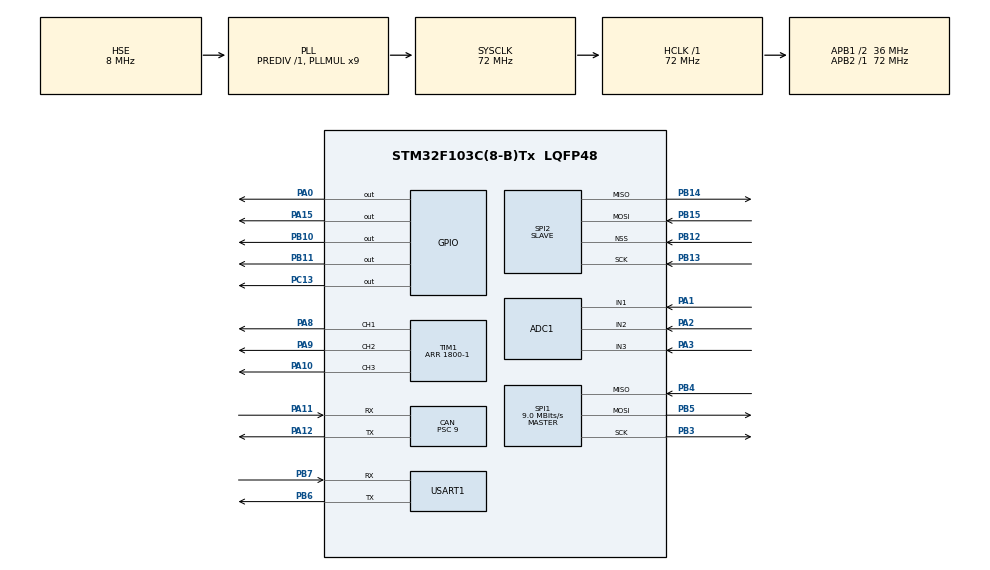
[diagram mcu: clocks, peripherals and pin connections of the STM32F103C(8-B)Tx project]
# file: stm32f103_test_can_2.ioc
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ADC1.Channel-0\#ChannelRegularConversion=ADC_CHANNEL_1
ADC1.Channel-1\#ChannelRegularConversion=ADC_CHANNEL_2
ADC1.Channel-2\#ChannelRegularConversion=ADC_CHANNEL_3
ADC1.NbrOfConversion=3
ADC1.NbrOfConversionFlag=1
ADC1.Rank-0\#ChannelRegularConversion=1
ADC1.Rank-1\#ChannelRegularConversion=2
ADC1.Rank-2\#ChannelRegularConversion=3
ADC1.SamplingTime-0\#ChannelRegularConversion=ADC_SAMPLETIME_1CYCLE_5
ADC1.SamplingTime-1\#ChannelRegularConversion=ADC_SAMPLETIME_1CYCLE_5
ADC1.SamplingTime-2\#ChannelRegularConversion=ADC_SAMPLETIME_1CYCLE_5
ADC1.master=1
CAN.BS1=CAN_BS1_2TQ
CAN.CalculateBaudRate=1000000
CAN.CalculateTimeBit=1000
CAN.CalculateTimeQuantum=250.0
CAN.Prescaler=9
Dma.ADC1.0.Direction=DMA_PERIPH_TO_MEMORY
Dma.ADC1.0.Instance=DMA1_Channel1
Dma.ADC1.0.MemDataAlignment=DMA_MDATAALIGN_HALFWORD
Dma.ADC1.0.MemInc=DMA_MINC_ENABLE
Dma.ADC1.0.Mode=DMA_CIRCULAR
Dma.ADC1.0.PeriphDataAlignment=DMA_PDATAALIGN_HALFWORD
Dma.ADC1.0.PeriphInc=DMA_PINC_DISABLE
Dma.ADC1.0.Priority=DMA_PRIORITY_LOW
Dma.Request0=ADC1
Mcu.Family=STM32F1
Mcu.Name=STM32F103C(8-B)Tx
Mcu.Package=LQFP48
NVIC.DMA1_Channel1_IRQn=true\:0\:0\:false\:false\:true\:false\:true
NVIC.PriorityGroup=NVIC_PRIORITYGROUP_4
NVIC.SPI1_IRQn=true\:2\:0\:true\:false\:true\:true\:true
NVIC.TIM1_UP_IRQn=true\:3\:0\:true\:false\:true\:true\:true
NVIC.USART1_IRQn=true\:2\:0\:true\:false\:true\:true\:true
NVIC.USB_LP_CAN1_RX0_IRQn=true\:4\:0\:true\:false\:true\:true\:true
PA0-WKUP.GPIO_PuPd=GPIO_PULLUP
PA0-WKUP.GPIO_Speed=GPIO_SPEED_FREQ_HIGH
PA0-WKUP.PinState=GPIO_PIN_SET
PA0-WKUP.Signal=GPIO_Output
PA1.Signal=ADCx_IN1
PA10.GPIO_Speed=GPIO_SPEED_FREQ_HIGH
PA10.Signal=S_TIM1_CH3
PA11.GPIO_PuPd=GPIO_PULLUP
PA11.Mode=CAN_Activate
PA11.Signal=CAN_RX
PA12.Mode=CAN_Activate
PA12.Signal=CAN_TX
PA13.Mode=Serial_Wire
PA13.Signal=SYS_JTMS-SWDIO
PA14.Mode=Serial_Wire
PA14.Signal=SYS_JTCK-SWCLK
PA15.GPIO_PuPd=GPIO_PULLUP
PA15.GPIO_Speed=GPIO_SPEED_FREQ_HIGH
PA15.PinState=GPIO_PIN_SET
PA15.Signal=GPIO_Output
PA2.Signal=ADCx_IN2
PA3.Signal=ADCx_IN3
PA8.GPIO_Speed=GPIO_SPEED_FREQ_HIGH
PA8.Signal=S_TIM1_CH1
PA9.GPIO_Speed=GPIO_SPEED_FREQ_HIGH
PA9.Signal=S_TIM1_CH2
PB10.GPIO_PuPd=GPIO_PULLDOWN
PB10.GPIO_Speed=GPIO_SPEED_FREQ_HIGH
PB10.PinState=GPIO_PIN_RESET
PB10.Signal=GPIO_Output
PB11.GPIO_PuPd=GPIO_PULLDOWN
PB11.GPIO_Speed=GPIO_SPEED_FREQ_HIGH
PB11.Signal=GPIO_Output
PB12.Mode=NSS_Signal_Hard_Input
PB12.Signal=SPI2_NSS
PB13.Mode=Full_Duplex_Slave
PB13.Signal=SPI2_SCK
PB14.Mode=Full_Duplex_Slave
PB14.Signal=SPI2_MISO
PB15.Mode=Full_Duplex_Slave
PB15.Signal=SPI2_MOSI
PB3.Mode=Full_Duplex_Master
PB3.Signal=SPI1_SCK
PB4.GPIO_PuPd=GPIO_PULLDOWN
PB4.Mode=Full_Duplex_Master
PB4.Signal=SPI1_MISO
PB5.Mode=Full_Duplex_Master
PB5.Signal=SPI1_MOSI
PB6.Mode=Asynchronous
PB6.Signal=USART1_TX
PB7.GPIO_PuPd=GPIO_PULLUP
PB7.Mode=Asynchronous
PB7.Signal=USART1_RX
PC13-TAMPER-RTC.GPIO_PuPd=GPIO_PULLUP
PC13-TAMPER-RTC.GPIO_Speed=GPIO_SPEED_FREQ_HIGH
PC13-TAMPER-RTC.PinState=GPIO_PIN_SET
PC13-TAMPER-RTC.Signal=GPIO_Output
PD0-OSC_IN.Mode=HSE-External-Oscillator
PD0-OSC_IN.Signal=RCC_OSC_IN
PD1-OSC_OUT.Mode=HSE-External-Oscillator
PD1-OSC_OUT.Signal=RCC_OSC_OUT
ProjectManager.HeapSize=0x200
ProjectManager.StackSize=0x400
ProjectManager.TargetToolchain=MDK-ARM V5.32
RCC.ADCPresc=RCC_ADCPCLK2_DIV6
RCC.AHBFreq_Value=72000000
RCC.APB1CLKDivider=RCC_HCLK_DIV2
RCC.APB1Freq_Value=36000000
RCC.APB1TimFreq_Value=72000000
RCC.APB2Freq_Value=72000000
RCC.APB2TimFreq_Value=72000000
RCC.HCLKFreq_Value=72000000
RCC.PLLMUL=RCC_PLL_MUL9
RCC.PLLSourceVirtual=RCC_PLLSOURCE_HSE
RCC.SYSCLKFreq_VALUE=72000000
RCC.SYSCLKSource=RCC_SYSCLKSOURCE_PLLCLK
RCC.USBFreq_Value=72000000
SH.ADCx_IN1.0=ADC1_IN1,IN1
SH.ADCx_IN2.0=ADC1_IN2,IN2
SH.ADCx_IN3.0=ADC1_IN3,IN3
SH.S_TIM1_CH1.0=TIM1_CH1,PWM Generation1 CH1
SH.S_TIM1_CH2.0=TIM1_CH2,PWM Generation2 CH2
SH.S_TIM1_CH3.0=TIM1_CH3,PWM Generation3 CH3
SPI1.BaudRatePrescaler=SPI_BAUDRATEPRESCALER_8
SPI1.CalculateBaudRate=9.0 MBits/s
SPI1.Direction=SPI_DIRECTION_2LINES
SPI1.Mode=SPI_MODE_MASTER
SPI1.VirtualType=VM_MASTER
SPI2.Direction=SPI_DIRECTION_2LINES
SPI2.Mode=SPI_MODE_SLAVE
SPI2.VirtualNSS=VM_NSSHARD
SPI2.VirtualType=VM_SLAVE
TIM1.Channel-PWM\ Generation1\ CH1=TIM_CHANNEL_1
TIM1.Channel-PWM\ Generation2\ CH2=TIM_CHANNEL_2
TIM1.Channel-PWM\ Generation3\ CH3=TIM_CHANNEL_3
TIM1.CounterMode=TIM_COUNTERMODE_CENTERALIGNED1
TIM1.OCPolarity_1=TIM_OCPOLARITY_LOW
TIM1.OCPolarity_2=TIM_OCPOLARITY_LOW
TIM1.OCPolarity_3=TIM_OCPOLARITY_LOW
TIM1.Period=1800-1
TIM1.RepetitionCounter=7
USART1.VirtualMode=VM_ASYNC
VP_TIM1_VS_ClockSourceINT.Mode=Internal
board=custom

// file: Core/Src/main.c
/* USER CODE BEGIN Header */
/**
  ******************************************************************************
  * @file           : main.c
  * @brief          : Main program body
  ******************************************************************************
  * @attention
  *
  * Copyright (c) 2023 STMicroelectronics.
  * All rights reserved.
  *
  * This software is licensed under terms that can be found in the LICENSE file
  * in the root directory of this software component.
  * If no LICENSE file comes with this software, it is provided AS-IS.
  *
  ******************************************************************************
  */
/* USER CODE END Header */
#include "main.h"

/* USER CODE BEGIN Includes */
#include "math.h"
#include "stdio.h"
#include "string.h"
/* USER CODE END Includes */

/* USER CODE BEGIN PD */
uint32_t tim1_it_cnt = 0;

CAN_TxHeaderTypeDef CAN_TxHeader;
CAN_RxHeaderTypeDef CAN_RxHeader;

uint32_t tx_mailbox;

uint8_t CAN_TX[8];
uint8_t CAN_RX[8];
uint8_t SPI_TX1[10];
uint8_t SPI_TX2[10];
uint8_t SPI_RX1[10];
uint8_t SPI_RX2[10];

void HAL_CAN_RxFifo0MsgPendingCallback(CAN_HandleTypeDef *hcan)
{
	HAL_CAN_GetRxMessage(hcan, CAN_RX_FIFO0, &CAN_RxHeader, CAN_RX);
//	HAL_CAN_AddTxMessage(hcan, &CAN_TxHeader, CAN_TX, &tx_mailbox);
}

/* USER CODE END PD */

ADC_HandleTypeDef hadc1;
DMA_HandleTypeDef hdma_adc1;

CAN_HandleTypeDef hcan;

SPI_HandleTypeDef hspi1;
SPI_HandleTypeDef hspi2;

TIM_HandleTypeDef htim1;

UART_HandleTypeDef huart1;

void SystemClock_Config(void);
static void MX_GPIO_Init(void);
static void MX_ADC1_Init(void);
static void MX_CAN_Init(void);
static void MX_SPI1_Init(void);
static void MX_TIM1_Init(void);
static void MX_DMA_Init(void);
static void MX_USART1_UART_Init(void);
static void MX_SPI2_Init(void);

int main(void)
{

  /* MCU Configuration--------------------------------------------------------*/

  /* Reset of all peripherals, Initializes the Flash interface and the Systick. */
  HAL_Init();

  /* Configure the system clock */
  SystemClock_Config();

  /* Initialize all configured peripherals */
  MX_GPIO_Init();
  MX_ADC1_Init();
  MX_CAN_Init();
  MX_SPI1_Init();
  MX_TIM1_Init();
  MX_DMA_Init();
  MX_USART1_UART_Init();
  MX_SPI2_Init();
  /* USER CODE BEGIN 2 */
	HAL_GPIO_WritePin(GPIOA, GPIO_PIN_15, 1);
	HAL_GPIO_WritePin(GPIOA, GPIO_PIN_0, 1);
	HAL_CAN_Start(&hcan);

	HAL_CAN_ActivateNotification(&hcan, CAN_IT_RX_FIFO0_MSG_PENDING);

	CAN_TxHeader.DLC = 8;
	CAN_TxHeader.IDE = CAN_ID_STD;
	CAN_TxHeader.RTR = CAN_RTR_DATA;
	CAN_TxHeader.StdId = 0x01;

	CAN_TX[0] = 0x11;
	CAN_TX[1] = 0x22;
	CAN_TX[2] = 0x33;
	CAN_TX[3] = 0xfa;
	CAN_TX[4] = 0xfb;
	CAN_TX[5] = 0xfc;
	CAN_TX[6] = 0xfe;
	CAN_TX[7] = 0xff;

	SPI_TX1[0] = 0x11;
	SPI_TX1[1] = 0x22;
	SPI_TX1[2] = 0x33;
	SPI_TX1[3] = 0xfa;
	SPI_TX1[4] = 0xfb;
	SPI_TX1[5] = 0xfc;
	SPI_TX1[6] = 0xfe;
	SPI_TX1[7] = 0xff;
	SPI_TX1[8] = 0x00;
	SPI_TX1[9] = htim1.Instance->CNT;

	SPI_TX2[0] = 0x11;
	SPI_TX2[1] = 0x22;
	SPI_TX2[2] = 0x33;
	SPI_TX2[3] = 0xfa;
	SPI_TX2[4] = 0xfb;
	SPI_TX2[5] = 0xfc;
	SPI_TX2[6] = 0xfe;
	SPI_TX2[7] = 0xff;
	SPI_TX2[8] = 0x00;
	SPI_TX2[9] = htim1.Instance->CNT;

	HAL_TIM_Base_Start_IT(&htim1);

  /* USER CODE END 2 */

  /* Infinite loop */
  /* USER CODE BEGIN WHILE */
  while (1)
  {
//		HAL_GPIO_WritePin(GPIOA, GPIO_PIN_15, 0);
		SPI_TX1[9] = htim1.Instance->CNT;
		SPI_TX2[9] = htim1.Instance->CNT;
		GPIOA->ODR &=~(0x1<<15);
//		HAL_SPI_Receive(&hspi1,SPI_RX1,  sizeof(SPI_RX1),10);
//		HAL_SPI_TransmitReceive(&hspi1, SPI_TX1, SPI_RX1, 10, 100);

//		HAL_Delay(1);
//				HAL_GPIO_WritePin(GPIOA, GPIO_PIN_15, 1);
		GPIOA->ODR |=(0x1<<15);
		GPIOA->ODR &=~(0x1);
//		HAL_SPI_Receive(&hspi1,SPI_RX2,  sizeof(SPI_RX2),10);
//		HAL_SPI_TransmitReceive(&hspi1, SPI_TX2, SPI_RX2, 10, 100);
		GPIOA->ODR |=(0x1);
//
		HAL_Delay(1);
    /* USER CODE END WHILE */

  }
}

void SystemClock_Config(void)
{
  RCC_OscInitTypeDef RCC_OscInitStruct = {0};
  RCC_ClkInitTypeDef RCC_ClkInitStruct = {0};
  RCC_PeriphCLKInitTypeDef PeriphClkInit = {0};

  /** Initializes the RCC Oscillators according to the specified parameters
  * in the RCC_OscInitTypeDef structure.
  */
  RCC_OscInitStruct.OscillatorType = RCC_OSCILLATORTYPE_HSE;
  RCC_OscInitStruct.HSEState = RCC_HSE_ON;
  RCC_OscInitStruct.HSEPredivValue = RCC_HSE_PREDIV_DIV1;
  RCC_OscInitStruct.HSIState = RCC_HSI_ON;
  RCC_OscInitStruct.PLL.PLLState = RCC_PLL_ON;
  RCC_OscInitStruct.PLL.PLLSource = RCC_PLLSOURCE_HSE;
  RCC_OscInitStruct.PLL.PLLMUL = RCC_PLL_MUL9;
  if (HAL_RCC_OscConfig(&RCC_OscInitStruct) != HAL_OK)
  {
    Error_Handler();
  }
  /** Initializes the CPU, AHB and APB buses clocks
  */
  RCC_ClkInitStruct.ClockType = RCC_CLOCKTYPE_HCLK|RCC_CLOCKTYPE_SYSCLK
                              |RCC_CLOCKTYPE_PCLK1|RCC_CLOCKTYPE_PCLK2;
  RCC_ClkInitStruct.SYSCLKSource = RCC_SYSCLKSOURCE_PLLCLK;
  RCC_ClkInitStruct.AHBCLKDivider = RCC_SYSCLK_DIV1;
  RCC_ClkInitStruct.APB1CLKDivider = RCC_HCLK_DIV2;
  RCC_ClkInitStruct.APB2CLKDivider = RCC_HCLK_DIV1;

  if (HAL_RCC_ClockConfig(&RCC_ClkInitStruct, FLASH_LATENCY_2) != HAL_OK)
  {
    Error_Handler();
  }
  PeriphClkInit.PeriphClockSelection = RCC_PERIPHCLK_ADC;
  PeriphClkInit.AdcClockSelection = RCC_ADCPCLK2_DIV6;
  if (HAL_RCCEx_PeriphCLKConfig(&PeriphClkInit) != HAL_OK)
  {
    Error_Handler();
  }
}

static void MX_ADC1_Init(void)
{

  ADC_ChannelConfTypeDef sConfig = {0};

  /** Common config
  */
  hadc1.Instance = ADC1;
  hadc1.Init.ScanConvMode = ADC_SCAN_ENABLE;
  hadc1.Init.ContinuousConvMode = DISABLE;
  hadc1.Init.DiscontinuousConvMode = DISABLE;
  hadc1.Init.ExternalTrigConv = ADC_SOFTWARE_START;
  hadc1.Init.DataAlign = ADC_DATAALIGN_RIGHT;
  hadc1.Init.NbrOfConversion = 3;
  if (HAL_ADC_Init(&hadc1) != HAL_OK)
  {
    Error_Handler();
  }
  /** Configure Regular Channel
  */
  sConfig.Channel = ADC_CHANNEL_1;
  sConfig.Rank = ADC_REGULAR_RANK_1;
  sConfig.SamplingTime = ADC_SAMPLETIME_1CYCLE_5;
  if (HAL_ADC_ConfigChannel(&hadc1, &sConfig) != HAL_OK)
  {
    Error_Handler();
  }
  /** Configure Regular Channel
  */
  sConfig.Channel = ADC_CHANNEL_2;
  sConfig.Rank = ADC_REGULAR_RANK_2;
  if (HAL_ADC_ConfigChannel(&hadc1, &sConfig) != HAL_OK)
  {
    Error_Handler();
  }
  /** Configure Regular Channel
  */
  sConfig.Channel = ADC_CHANNEL_3;
  sConfig.Rank = ADC_REGULAR_RANK_3;
  if (HAL_ADC_ConfigChannel(&hadc1, &sConfig) != HAL_OK)
  {
    Error_Handler();
  }

}

static void MX_CAN_Init(void)
{

  hcan.Instance = CAN1;
  hcan.Init.Prescaler = 9;
  hcan.Init.Mode = CAN_MODE_NORMAL;
  hcan.Init.SyncJumpWidth = CAN_SJW_1TQ;
  hcan.Init.TimeSeg1 = CAN_BS1_2TQ;
  hcan.Init.TimeSeg2 = CAN_BS2_1TQ;
  hcan.Init.TimeTriggeredMode = DISABLE;
  hcan.Init.AutoBusOff = DISABLE;
  hcan.Init.AutoWakeUp = DISABLE;
  hcan.Init.AutoRetransmission = DISABLE;
  hcan.Init.ReceiveFifoLocked = DISABLE;
  hcan.Init.TransmitFifoPriority = DISABLE;
  if (HAL_CAN_Init(&hcan) != HAL_OK)
  {
    Error_Handler();
  }
  /* USER CODE BEGIN CAN_Init 2 */

	CAN_FilterTypeDef canfilterconfig;

	canfilterconfig.FilterActivation = CAN_FILTER_ENABLE;
	canfilterconfig.FilterBank = 10;
	canfilterconfig.FilterFIFOAssignment = CAN_FILTER_FIFO0;
	canfilterconfig.FilterIdHigh = 0x000<<5;
	canfilterconfig.FilterIdLow =/*0x0*/ 0x3;
	canfilterconfig.FilterMaskIdHigh = 0x000<<5;
	canfilterconfig.FilterMaskIdLow = 0x0;
	canfilterconfig.FilterMode = CAN_FILTERMODE_IDMASK;
	canfilterconfig.FilterScale = CAN_FILTERSCALE_32BIT;
	canfilterconfig.SlaveStartFilterBank = 20;

	if (HAL_CAN_ConfigFilter(&hcan, &canfilterconfig) != HAL_OK)
  {
    Error_Handler();
  }

  /* USER CODE END CAN_Init 2 */

}

static void MX_SPI1_Init(void)
{

  /* SPI1 parameter configuration*/
  hspi1.Instance = SPI1;
  hspi1.Init.Mode = SPI_MODE_MASTER;
  hspi1.Init.Direction = SPI_DIRECTION_2LINES;
  hspi1.Init.DataSize = SPI_DATASIZE_8BIT;
  hspi1.Init.CLKPolarity = SPI_POLARITY_LOW;
  hspi1.Init.CLKPhase = SPI_PHASE_1EDGE;
  hspi1.Init.NSS = SPI_NSS_SOFT;
  hspi1.Init.BaudRatePrescaler = SPI_BAUDRATEPRESCALER_8;
  hspi1.Init.FirstBit = SPI_FIRSTBIT_MSB;
  hspi1.Init.TIMode = SPI_TIMODE_DISABLE;
  hspi1.Init.CRCCalculation = SPI_CRCCALCULATION_DISABLE;
  hspi1.Init.CRCPolynomial = 10;
  if (HAL_SPI_Init(&hspi1) != HAL_OK)
  {
    Error_Handler();
  }

}

static void MX_SPI2_Init(void)
{

  /* SPI2 parameter configuration*/
  hspi2.Instance = SPI2;
  hspi2.Init.Mode = SPI_MODE_SLAVE;
  hspi2.Init.Direction = SPI_DIRECTION_2LINES;
  hspi2.Init.DataSize = SPI_DATASIZE_8BIT;
  hspi2.Init.CLKPolarity = SPI_POLARITY_LOW;
  hspi2.Init.CLKPhase = SPI_PHASE_1EDGE;
  hspi2.Init.NSS = SPI_NSS_HARD_INPUT;
  hspi2.Init.FirstBit = SPI_FIRSTBIT_MSB;
  hspi2.Init.TIMode = SPI_TIMODE_DISABLE;
  hspi2.Init.CRCCalculation = SPI_CRCCALCULATION_DISABLE;
  hspi2.Init.CRCPolynomial = 10;
  if (HAL_SPI_Init(&hspi2) != HAL_OK)
  {
    Error_Handler();
  }

}

static void MX_TIM1_Init(void)
{

  TIM_ClockConfigTypeDef sClockSourceConfig = {0};
  TIM_MasterConfigTypeDef sMasterConfig = {0};
  TIM_OC_InitTypeDef sConfigOC = {0};
  TIM_BreakDeadTimeConfigTypeDef sBreakDeadTimeConfig = {0};

  htim1.Instance = TIM1;
  htim1.Init.Prescaler = 0;
  htim1.Init.CounterMode = TIM_COUNTERMODE_CENTERALIGNED1;
  htim1.Init.Period = 1800-1;
  htim1.Init.ClockDivision = TIM_CLOCKDIVISION_DIV1;
  htim1.Init.RepetitionCounter = 7;
  htim1.Init.AutoReloadPreload = TIM_AUTORELOAD_PRELOAD_DISABLE;
  if (HAL_TIM_Base_Init(&htim1) != HAL_OK)
  {
    Error_Handler();
  }
  sClockSourceConfig.ClockSource = TIM_CLOCKSOURCE_INTERNAL;
  if (HAL_TIM_ConfigClockSource(&htim1, &sClockSourceConfig) != HAL_OK)
  {
    Error_Handler();
  }
  if (HAL_TIM_PWM_Init(&htim1) != HAL_OK)
  {
    Error_Handler();
  }
  sMasterConfig.MasterOutputTrigger = TIM_TRGO_RESET;
  sMasterConfig.MasterSlaveMode = TIM_MASTERSLAVEMODE_DISABLE;
  if (HAL_TIMEx_MasterConfigSynchronization(&htim1, &sMasterConfig) != HAL_OK)
  {
    Error_Handler();
  }
  sConfigOC.OCMode = TIM_OCMODE_PWM1;
  sConfigOC.Pulse = 0;
  sConfigOC.OCPolarity = TIM_OCPOLARITY_LOW;
  sConfigOC.OCNPolarity = TIM_OCNPOLARITY_HIGH;
  sConfigOC.OCFastMode = TIM_OCFAST_DISABLE;
  sConfigOC.OCIdleState = TIM_OCIDLESTATE_RESET;
  sConfigOC.OCNIdleState = TIM_OCNIDLESTATE_RESET;
  if (HAL_TIM_PWM_ConfigChannel(&htim1, &sConfigOC, TIM_CHANNEL_1) != HAL_OK)
  {
    Error_Handler();
  }
  if (HAL_TIM_PWM_ConfigChannel(&htim1, &sConfigOC, TIM_CHANNEL_2) != HAL_OK)
  {
    Error_Handler();
  }
  if (HAL_TIM_PWM_ConfigChannel(&htim1, &sConfigOC, TIM_CHANNEL_3) != HAL_OK)
  {
    Error_Handler();
  }
  sBreakDeadTimeConfig.OffStateRunMode = TIM_OSSR_DISABLE;
  sBreakDeadTimeConfig.OffStateIDLEMode = TIM_OSSI_DISABLE;
  sBreakDeadTimeConfig.LockLevel = TIM_LOCKLEVEL_OFF;
  sBreakDeadTimeConfig.DeadTime = 0;
  sBreakDeadTimeConfig.BreakState = TIM_BREAK_DISABLE;
  sBreakDeadTimeConfig.BreakPolarity = TIM_BREAKPOLARITY_HIGH;
  sBreakDeadTimeConfig.AutomaticOutput = TIM_AUTOMATICOUTPUT_DISABLE;
  if (HAL_TIMEx_ConfigBreakDeadTime(&htim1, &sBreakDeadTimeConfig) != HAL_OK)
  {
    Error_Handler();
  }
  HAL_TIM_MspPostInit(&htim1);

}

static void MX_USART1_UART_Init(void)
{

  huart1.Instance = USART1;
  huart1.Init.BaudRate = 115200;
  huart1.Init.WordLength = UART_WORDLENGTH_8B;
  huart1.Init.StopBits = UART_STOPBITS_1;
  huart1.Init.Parity = UART_PARITY_NONE;
  huart1.Init.Mode = UART_MODE_TX_RX;
  huart1.Init.HwFlowCtl = UART_HWCONTROL_NONE;
  huart1.Init.OverSampling = UART_OVERSAMPLING_16;
  if (HAL_UART_Init(&huart1) != HAL_OK)
  {
    Error_Handler();
  }

}

static void MX_DMA_Init(void)
{

  /* DMA controller clock enable */
  __HAL_RCC_DMA1_CLK_ENABLE();

  /* DMA interrupt init */
  /* DMA1_Channel1_IRQn interrupt configuration */
  HAL_NVIC_SetPriority(DMA1_Channel1_IRQn, 0, 0);
  HAL_NVIC_EnableIRQ(DMA1_Channel1_IRQn);

}

static void MX_GPIO_Init(void)
{
  GPIO_InitTypeDef GPIO_InitStruct = {0};

  /* GPIO Ports Clock Enable */
  __HAL_RCC_GPIOC_CLK_ENABLE();
  __HAL_RCC_GPIOD_CLK_ENABLE();
  __HAL_RCC_GPIOA_CLK_ENABLE();
  __HAL_RCC_GPIOB_CLK_ENABLE();

  /*Configure GPIO pin Output Level */
  HAL_GPIO_WritePin(GPIOC, GPIO_PIN_13, GPIO_PIN_SET);

  /*Configure GPIO pin Output Level */
  HAL_GPIO_WritePin(GPIOA, GPIO_PIN_0|GPIO_PIN_15, GPIO_PIN_SET);

  /*Configure GPIO pin Output Level */
  HAL_GPIO_WritePin(GPIOB, GPIO_PIN_10|GPIO_PIN_11, GPIO_PIN_RESET);

  /*Configure GPIO pin : PC13 */
  GPIO_InitStruct.Pin = GPIO_PIN_13;
  GPIO_InitStruct.Mode = GPIO_MODE_OUTPUT_PP;
  GPIO_InitStruct.Pull = GPIO_PULLUP;
  GPIO_InitStruct.Speed = GPIO_SPEED_FREQ_HIGH;
  HAL_GPIO_Init(GPIOC, &GPIO_InitStruct);

  /*Configure GPIO pins : PC14 PC15 */
  GPIO_InitStruct.Pin = GPIO_PIN_14|GPIO_PIN_15;
  GPIO_InitStruct.Mode = GPIO_MODE_ANALOG;
  HAL_GPIO_Init(GPIOC, &GPIO_InitStruct);

  /*Configure GPIO pins : PA0 PA15 */
  GPIO_InitStruct.Pin = GPIO_PIN_0|GPIO_PIN_15;
  GPIO_InitStruct.Mode = GPIO_MODE_OUTPUT_PP;
  GPIO_InitStruct.Pull = GPIO_PULLUP;
  GPIO_InitStruct.Speed = GPIO_SPEED_FREQ_HIGH;
  HAL_GPIO_Init(GPIOA, &GPIO_InitStruct);

  /*Configure GPIO pins : PA4 PA5 PA6 PA7 */
  GPIO_InitStruct.Pin = GPIO_PIN_4|GPIO_PIN_5|GPIO_PIN_6|GPIO_PIN_7;
  GPIO_InitStruct.Mode = GPIO_MODE_ANALOG;
  HAL_GPIO_Init(GPIOA, &GPIO_InitStruct);

  /*Configure GPIO pins : PB0 PB1 PB2 PB8
                           PB9 */
  GPIO_InitStruct.Pin = GPIO_PIN_0|GPIO_PIN_1|GPIO_PIN_2|GPIO_PIN_8
                          |GPIO_PIN_9;
  GPIO_InitStruct.Mode = GPIO_MODE_ANALOG;
  HAL_GPIO_Init(GPIOB, &GPIO_InitStruct);

  /*Configure GPIO pins : PB10 PB11 */
  GPIO_InitStruct.Pin = GPIO_PIN_10|GPIO_PIN_11;
  GPIO_InitStruct.Mode = GPIO_MODE_OUTPUT_PP;
  GPIO_InitStruct.Pull = GPIO_PULLDOWN;
  GPIO_InitStruct.Speed = GPIO_SPEED_FREQ_HIGH;
  HAL_GPIO_Init(GPIOB, &GPIO_InitStruct);

}

void Error_Handler(void)
{
  __disable_irq();
  while (1)
  {
  }
}
